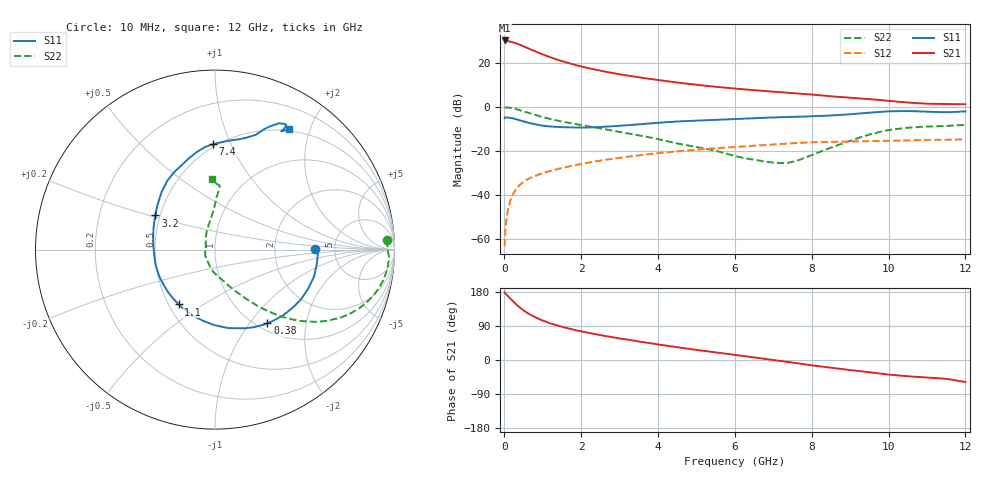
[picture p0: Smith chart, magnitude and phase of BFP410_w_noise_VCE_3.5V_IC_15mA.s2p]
! Infineon Technologies  Discrete & RF Semiconductors
! BFP410
! VCE =  3.5 V,  IC =  15 mA
! Common Emitter S-Parameters:  Nov 2015
# GHz  S  MA  R  50
!  f  S11  S21  S12  S22
! GHz  MAG  ANG  MAG  ANG  MAG  ANG  MAG  ANG
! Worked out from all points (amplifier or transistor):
!   243 points, 10 MHz to 12 GHz, reference 50 ohm
!   highest |S21| = 30.1 dB at 10 MHz (marker M1)
!   |S21| within 3 dB of that: start of sweep to 548.5 MHz
!   unconditionally stable (mu >= 1): start of sweep to 16.11 MHz; 2.107 GHz to end of sweep
!   at 240 MHz: K = 0.24, MSG = 34.2 dB, |S12| = -39.2 dB
!   at 1.84 GHz: K = 0.94, MSG = 22.7 dB, |S12| = -26.4 dB
!   at 12 GHz: K = 1.03, MAG = 6.9 dB, |S12| = -14.7 dB
!   lowest NFmin = 1.50 dB at 900 MHz
!   S11 on the Smith chart (normalised r, x): 10 MHz: 3.51, +0.05; 380 MHz: 1.12, -1.23; 1.1 GHz: 0.56, -0.40; 3.2 GHz: 0.47, +0.21; 7.4 GHz: 0.48, +0.86; 12 GHz: 0.47, +1.68
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0.01  0.5571 0.5  31.82 178.9  0.0007 92.3  0.9599 3.2
0.02  0.5737 -2.1  31.46 176.8  0.0012 73.9  0.9616 0.0
0.05  0.5731 -7.2  31.01 173.4  0.0025 78.6  0.9711 -2.6
0.1  0.5723 -15.1  30.7 168.3  0.0048 80.1  0.9661 -6.6
0.2  0.5537 -30.0  29.38 157.7  0.0094 76.6  0.9367 -13.4
0.3  0.527 -44.0  27.6 147.8  0.0134 72.3  0.8926 -19.4
0.38  0.5032 -54.5  25.98 140.8  0.0162 69.1  0.8525 -23.5
0.5  0.469 -69.3  23.52 131.2  0.02 65.5  0.7907 -28.8
0.6  0.4441 -80.2  21.55 124.2  0.0226 63.1  0.7417 -32.3
0.7  0.4209 -90.5  19.76 118.3  0.0251 61.3  0.6965 -35.3
0.9  0.388 -108.4  16.69 108.2  0.0294 58.9  0.6196 -39.9
1.1  0.3665 -123.6  14.25 100.1  0.0334 57.3  0.5566 -43.4
1.5  0.3457 -147.6  10.84 87.6  0.0411 55.4  0.4649 -48.5
2.02  0.34 -171.3  8.147 75.3  0.0512 53.0  0.3859 -53.4
2.6  0.3534 167.0  6.319 63.8  0.0624 49.5  0.3131 -58.5
3.2  0.3827 150.2  5.125 54.0  0.0739 45.4  0.2534 -64.3
4.1  0.4427 131.1  3.939 39.7  0.091 38.8  0.178 -75.6
6.1  0.5328 104.9  2.548 12.2  0.1249 22.4  0.0734 -126.1
7.4  0.5873 91.0  2.082 -5.4  0.1483 10.8  0.0542 163.5
8.2  0.6197 80.2  1.828 -16.6  0.1586 2.0  0.0947 121.2
10.2  0.7953 61.9  1.317 -40.2  0.1706 -14.2  0.3137 87.1
12  0.7879 58.6  1.142 -58.2  0.1836 -29.8  0.3925 92.5
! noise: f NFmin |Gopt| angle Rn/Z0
0.45  1.52  0.06  -134  0.19
0.9  1.5  0.07  -151  0.16
1.8  1.61  0.12  -142  0.16
2.4  1.64  0.18  -123  0.21
5.5  2.49  0.39  -106  0.35
10  3.6  0.69  -47  2.16
